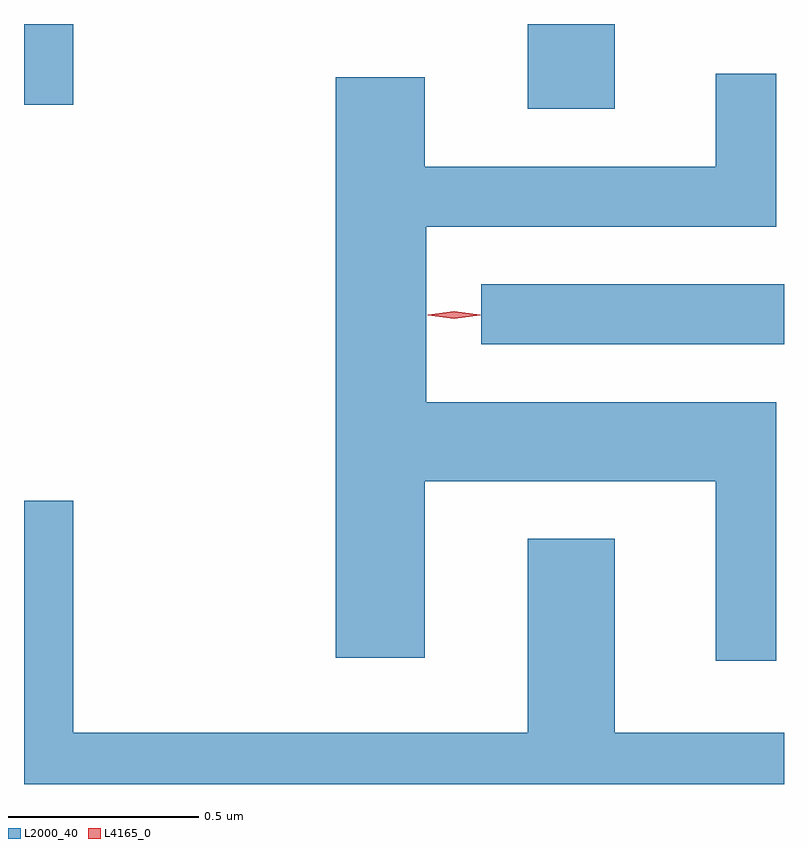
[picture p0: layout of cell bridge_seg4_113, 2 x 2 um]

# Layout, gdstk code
import gdstk
lib = gdstk.Library(unit=1e-6, precision=1e-09)
def R(c, l, rs):  # rectangles x0, y0, x1, y1
    for r in rs: c.add(gdstk.rectangle(r[:2], r[2:], *l))
def P(c, l, *ps):  # polygons
    for p in ps: c.add(gdstk.Polygon(p, *l))
L2000_40 = (2000, 40)
L4165_0 = (4165, 0)

bridge_seg4_113 = lib.new_cell('bridge_seg4_113')
R(bridge_seg4_113, L2000_40, [(915.718,1333.766,916.515,1333.924), (915.841,1334.386,916.069,1334.609), (914.515,1334.396,914.644,1334.609)])
P(bridge_seg4_113, L2000_40, [(916.494,1333.614),(915.574,1333.614),(915.574,1334.076),(916.494,1334.076),(916.494,1334.478),(916.336,1334.478),(916.336,1334.234),(915.569,1334.234),(915.569,1334.469),(915.336,1334.469),(915.336,1332.941),(915.569,1332.941),(915.569,1333.406),(916.336,1333.406),(916.336,1332.933),(916.494,1332.933)],
  [(916.515,1332.744),(916.069,1332.744),(916.069,1333.254),(915.841,1333.254),(915.841,1332.744),(914.644,1332.744),(914.644,1333.354),(914.515,1333.354),(914.515,1332.609),(916.515,1332.609)])
P(bridge_seg4_113, L4165_0, [(915.647,1333.833),(915.578,1333.843),(915.577,1333.843),(915.578,1333.844),(915.647,1333.853),(915.716,1333.844),(915.716,1333.843),(915.716,1333.843)],
  [(915.646,1333.833),(915.58,1333.843),(915.58,1333.843),(915.58,1333.844),(915.646,1333.853),(915.712,1333.844),(915.713,1333.843),(915.712,1333.843)])

lib.write_gds('bridge_seg4_113.gds')
